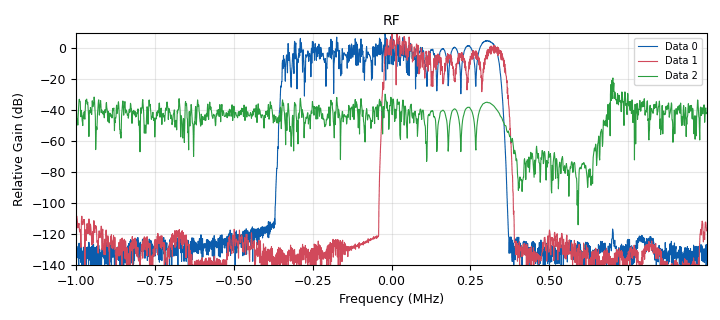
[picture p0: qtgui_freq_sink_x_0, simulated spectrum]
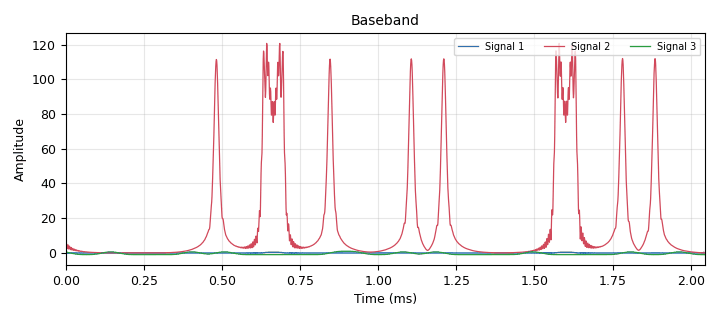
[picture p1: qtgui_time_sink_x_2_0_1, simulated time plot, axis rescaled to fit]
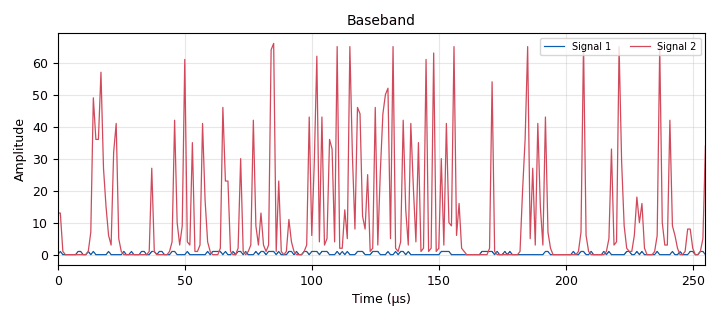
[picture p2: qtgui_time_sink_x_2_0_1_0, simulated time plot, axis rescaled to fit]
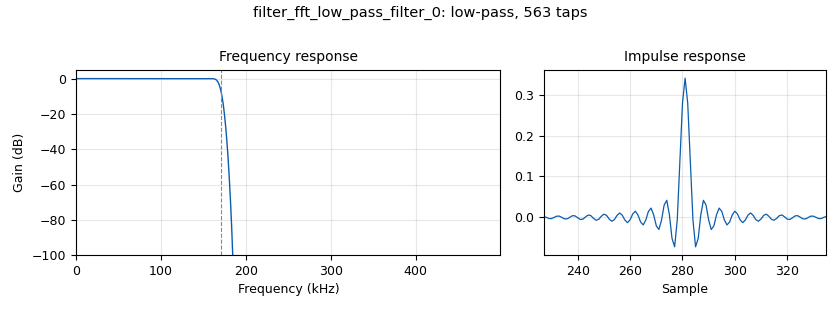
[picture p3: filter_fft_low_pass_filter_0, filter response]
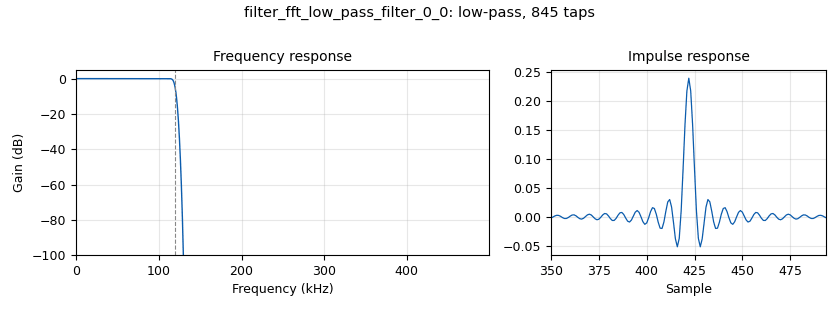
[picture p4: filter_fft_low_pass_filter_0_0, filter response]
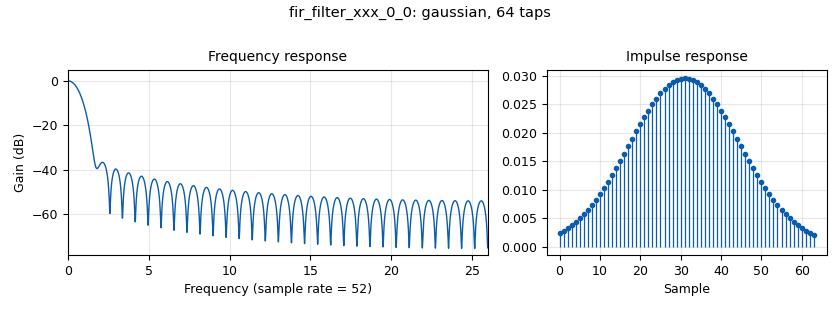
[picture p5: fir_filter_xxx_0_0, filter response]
options:
  parameters:
    author: dfdtc
    generate_options: qt_gui
    id: test_SSB_FM
    output_language: python
    title: test_SSB_FM
  states: {}

blocks:
- name: D
  id: variable
  parameters:
    value: bw/2
  states: {}
- name: bfsk
  id: variable_constellation
  parameters:
    const_points: '[-1,1]'
    precision: '8'
    rot_sym: '1'
    sym_map: '[0, 1]'
    type: bpsk
  states: {}
- name: bw
  id: variable
  parameters:
    value: 0.82e6
  states: {}
- name: inter_header
  id: variable_header_format_default
  parameters:
    access_code: '"0001011011101000110100110111011100010101000111000111000100101101"'
    bps: '1'
    threshold: '0'
  states: {}
- name: lpf
  id: variable_low_pass_filter_taps
  parameters:
    beta: '80'
    cutoff_freq: 150e3
    gain: '1.0'
    samp_rate: samp_rate
    width: 5e3
    win: window.WIN_KAISER
  states: {}
- name: ook
  id: variable_constellation
  parameters:
    const_points: '[0,1]'
    dims: '1'
    normalization: digital.constellation.POWER_NORMALIZATION
    precision: '4'
    rot_sym: '1'
    sym_map: '[0, 1]'
    type: calcdist
  states: {}
- name: samp_rate
  id: variable
  parameters:
    value: 1e6
  states: {}
- name: sps
  id: variable
  parameters:
    value: '52'
  states: {}
- name: symb_rate
  id: variable
  parameters:
    value: samp_rate/sps
  states: {}
- name: analog_quadrature_demod_cf_0_0
  id: analog_quadrature_demod_cf
  parameters:
    gain: samp_rate/(2*math.pi*D)
  states: {}
- name: analog_quadrature_demod_cf_0_0_0
  id: analog_quadrature_demod_cf
  parameters:
    gain: samp_rate/(2*math.pi*D)
  states: {}
- name: blocks_add_xx_0
  id: blocks_add_xx
  parameters:
    type: complex
  states: {}
- name: blocks_char_to_float_0
  id: blocks_char_to_float
  parameters:
    scale: '1'
  states: {}
- name: blocks_char_to_float_1
  id: blocks_char_to_float
  parameters:
    scale: '1'
  states: {}
- name: blocks_complex_to_mag_0
  id: blocks_complex_to_mag
  parameters: {}
  states: {}
- name: blocks_delay_0_0
  id: blocks_delay
  parameters:
    delay: '15'
    type: float
  states: {}
- name: blocks_float_to_uchar_0_0
  id: blocks_float_to_uchar
  parameters:
    bias: '0'
    scale: '1'
    vlen: '1'
  states: {}
- name: blocks_freqshift_cc_0
  id: blocks_freqshift_cc
  parameters:
    freq: '-100e3'
    sample_rate: samp_rate
  states: {}
- name: blocks_freqshift_cc_0_0
  id: blocks_freqshift_cc
  parameters:
    freq: 100e3
    sample_rate: samp_rate
  states: {}
- name: blocks_freqshift_cc_0_0_0
  id: blocks_freqshift_cc
  parameters:
    freq: 110e3
    sample_rate: samp_rate
  states: {}
- name: blocks_freqshift_cc_1
  id: blocks_freqshift_cc
  parameters:
    freq: '-240e3'
    sample_rate: samp_rate
  states: {}
- name: blocks_multiply_const_vxx_0
  id: blocks_multiply_const_vxx
  parameters:
    const: '100'
    type: complex
  states: {}
- name: blocks_multiply_const_vxx_1
  id: blocks_multiply_const_vxx
  parameters:
    const: '0.02'
    type: complex
  states: {}
- name: blocks_multiply_const_vxx_2
  id: blocks_multiply_const_vxx
  parameters:
    const: '0.7'
    type: float
  states: {}
- name: blocks_stream_to_tagged_stream_0_0
  id: blocks_stream_to_tagged_stream
  parameters:
    len_tag_key: '"packet_len"'
    packet_len: '15'
    type: byte
  states: {}
- name: blocks_stream_to_tagged_stream_0_0_0
  id: blocks_stream_to_tagged_stream
  parameters:
    len_tag_key: '"packet_len"'
    packet_len: '15'
    type: byte
  states: {}
- name: blocks_tagged_stream_mux_0
  id: blocks_tagged_stream_mux
  parameters:
    lengthtagname: packet_len
    ninputs: '2'
    type: byte
  states: {}
- name: blocks_tagged_stream_mux_0_0
  id: blocks_tagged_stream_mux
  parameters:
    lengthtagname: packet_len
    ninputs: '2'
    type: byte
  states: {}
- name: blocks_vector_source_x_0_0
  id: blocks_vector_source_x
  parameters:
    repeat: 'True'
    type: byte
    vector: (165, 0, 6, 0, 153, 10, 6, 80, 65, 35, 54, 48, 128, 189, 45)
  states: {}
- name: blocks_vector_source_x_0_0_0
  id: blocks_vector_source_x
  parameters:
    repeat: 'True'
    type: byte
    vector: (165, 0, 6, 0, 153, 10, 6, 80, 65, 35, 54, 48, 128, 189, 45)
  states: {}
- name: digital_gfsk_demod_0_0_0
  id: digital_gfsk_demod
  parameters:
    freq_error: '0.0'
    gain_mu: '0.17'
    mu: '0.5'
    omega_relative_limit: '0.005'
    samples_per_symbol: sps
    sensitivity: samp_rate/(2*math.pi*D)
  states: {}
- name: digital_gfsk_mod_0
  id: digital_gfsk_mod
  parameters:
    bt: '0.35'
    samples_per_symbol: sps
    sensitivity: ((2*math.pi)*D)/samp_rate
  states: {}
- name: digital_gfsk_mod_0_0
  id: digital_gfsk_mod
  parameters:
    bt: '0.35'
    samples_per_symbol: sps
    sensitivity: ((2*math.pi)*D)/samp_rate
  states: {}
- name: digital_protocol_formatter_bb_0
  id: digital_protocol_formatter_bb
  parameters:
    format: inter_header
    len_tag_key: '"packet_len"'
  states: {}
- name: digital_protocol_formatter_bb_0_0
  id: digital_protocol_formatter_bb
  parameters:
    format: inter_header
    len_tag_key: '"packet_len"'
  states: {}
- name: digital_symbol_sync_xx_0
  id: digital_symbol_sync_xx
  parameters:
    constellation: ook
    damping: '1.0'
    loop_bw: '0.03'
    max_dev: '1.5'
    nfilters: '128'
    osps: '1'
    resamp_type: digital.IR_PFB_NO_MF
    sps: sps
    ted_gain: '0.85'
    ted_type: digital.TED_EARLY_LATE
    type: ff
  states: {}
- name: filter_fft_low_pass_filter_0
  id: filter_fft_low_pass_filter
  parameters:
    beta: '40'
    cutoff_freq: 170e3
    decim: '1'
    gain: '1'
    samp_rate: samp_rate
    type: ccc
    width: 30e3
    win: window.WIN_KAISER
  states: {}
- name: filter_fft_low_pass_filter_0_0
  id: filter_fft_low_pass_filter
  parameters:
    beta: '40'
    cutoff_freq: 120e3
    decim: '1'
    gain: '1'
    samp_rate: samp_rate
    type: ccc
    width: 20e3
    win: window.WIN_KAISER
  states: {}
- name: fir_filter_xxx_0_0
  id: fir_filter_xxx
  parameters:
    decim: '1'
    taps: firdes.gaussian(1, sps, 0.5, 64)
    type: fff
  states: {}
- name: import_0_0
  id: import
  parameters:
    imports: import math
  states: {}
- name: qtgui_freq_sink_x_0
  id: qtgui_freq_sink_x
  parameters:
    bw: samp_rate*2
    fc: '0'
    fftsize: '2048'
    name: '"RF"'
    nconnections: '3'
    type: complex
  states: {}
- name: qtgui_time_sink_x_2_0_1
  id: qtgui_time_sink_x
  parameters:
    grid: 'True'
    name: '"Baseband"'
    nconnections: '3'
    size: '2048'
    srate: samp_rate
    tr_mode: qtgui.TRIG_MODE_AUTO
    type: float
    update_time: '2'
    ymax: '2'
    ymin: '-2'
  states: {}
- name: qtgui_time_sink_x_2_0_1_0
  id: qtgui_time_sink_x
  parameters:
    grid: 'True'
    name: '"Baseband"'
    nconnections: '2'
    size: '256'
    srate: samp_rate
    tr_mode: qtgui.TRIG_MODE_NORM
    type: float
    update_time: '5'
    ymax: '2'
    ymin: '-2'
  states: {}
- name: qtgui_time_sink_x_2_0_1_0_0
  id: qtgui_time_sink_x
  parameters:
    grid: 'True'
    name: '"Baseband"'
    nconnections: '2'
    size: '256'
    srate: samp_rate
    tr_mode: qtgui.TRIG_MODE_NORM
    type: float
    update_time: '5'
    ymax: '2'
    ymin: '-2'
  states: {state: disabled}
- name: qtgui_time_sink_x_2_0_1_0_0_0
  id: qtgui_time_sink_x
  parameters:
    grid: 'True'
    name: '"Baseband1111"'
    nconnections: '2'
    size: '256'
    srate: samp_rate
    tr_mode: qtgui.TRIG_MODE_NORM
    type: float
    update_time: '5'
    ymax: '2'
    ymin: '-2'
  states: {}
- name: qtgui_time_sink_x_2_0_1_0_1
  id: qtgui_time_sink_x
  parameters:
    grid: 'True'
    name: '"Baseband"'
    nconnections: '3'
    size: '256'
    srate: samp_rate
    tr_mode: qtgui.TRIG_MODE_NORM
    type: float
    update_time: '5'
    ymax: '2'
    ymin: '-2'
  states: {state: disabled}
- name: virtual_sink_0
  id: virtual_sink
  parameters:
    stream_id: rf
  states: {}
- name: virtual_source_0
  id: virtual_source
  parameters:
    stream_id: rf
  states: {}

connections:
- [analog_quadrature_demod_cf_0_0, '0', qtgui_time_sink_x_2_0_1, '0']
- [analog_quadrature_demod_cf_0_0_0, '0', qtgui_time_sink_x_2_0_1, '2']
- [blocks_add_xx_0, '0', virtual_sink_0, '0']
- [blocks_char_to_float_0, '0', blocks_delay_0_0, '0']
- [blocks_char_to_float_1, '0', qtgui_time_sink_x_2_0_1_0, '1']
- [blocks_complex_to_mag_0, '0', fir_filter_xxx_0_0, '0']
- [blocks_complex_to_mag_0, '0', qtgui_time_sink_x_2_0_1, '1']
- [blocks_delay_0_0, '0', qtgui_time_sink_x_2_0_1_0, '0']
- [blocks_float_to_uchar_0_0, '0', blocks_char_to_float_1, '0']
- [blocks_freqshift_cc_0, '0', blocks_freqshift_cc_0_0, '0']
- [blocks_freqshift_cc_0, '0', filter_fft_low_pass_filter_0_0, '0']
- [blocks_freqshift_cc_0_0, '0', qtgui_freq_sink_x_0, '0']
- [blocks_freqshift_cc_0_0_0, '0', analog_quadrature_demod_cf_0_0, '0']
- [blocks_freqshift_cc_0_0_0, '0', blocks_complex_to_mag_0, '0']
- [blocks_freqshift_cc_0_0_0, '0', qtgui_freq_sink_x_0, '1']
- [blocks_freqshift_cc_1, '0', blocks_add_xx_0, '1']
- [blocks_multiply_const_vxx_0, '0', blocks_freqshift_cc_0, '0']
- [blocks_multiply_const_vxx_1, '0', blocks_add_xx_0, '0']
- [blocks_multiply_const_vxx_2, '0', digital_symbol_sync_xx_0, '0']
- [blocks_stream_to_tagged_stream_0_0, '0', blocks_tagged_stream_mux_0, '1']
- [blocks_stream_to_tagged_stream_0_0, '0', digital_protocol_formatter_bb_0, '0']
- [blocks_stream_to_tagged_stream_0_0_0, '0', blocks_tagged_stream_mux_0_0, '1']
- [blocks_stream_to_tagged_stream_0_0_0, '0', digital_protocol_formatter_bb_0_0, '0']
- [blocks_tagged_stream_mux_0, '0', digital_gfsk_mod_0, '0']
- [blocks_tagged_stream_mux_0_0, '0', digital_gfsk_mod_0_0, '0']
- [blocks_vector_source_x_0_0, '0', blocks_stream_to_tagged_stream_0_0, '0']
- [blocks_vector_source_x_0_0_0, '0', blocks_stream_to_tagged_stream_0_0_0, '0']
- [digital_gfsk_demod_0_0_0, '0', blocks_char_to_float_0, '0']
- [digital_gfsk_mod_0, '0', analog_quadrature_demod_cf_0_0_0, '0']
- [digital_gfsk_mod_0, '0', blocks_multiply_const_vxx_1, '0']
- [digital_gfsk_mod_0, '0', digital_gfsk_demod_0_0_0, '0']
- [digital_gfsk_mod_0_0, '0', blocks_freqshift_cc_1, '0']
- [digital_protocol_formatter_bb_0, '0', blocks_tagged_stream_mux_0, '0']
- [digital_protocol_formatter_bb_0_0, '0', blocks_tagged_stream_mux_0_0, '0']
- [digital_symbol_sync_xx_0, '0', blocks_float_to_uchar_0_0, '0']
- [digital_symbol_sync_xx_0, '0', qtgui_time_sink_x_2_0_1_0_0_0, '0']
- [digital_symbol_sync_xx_0, '1', qtgui_time_sink_x_2_0_1_0_0_0, '1']
- [filter_fft_low_pass_filter_0, '0', blocks_multiply_const_vxx_0, '0']
- [filter_fft_low_pass_filter_0_0, '0', blocks_freqshift_cc_0_0_0, '0']
- [fir_filter_xxx_0_0, '0', blocks_multiply_const_vxx_2, '0']
- [virtual_source_0, '0', filter_fft_low_pass_filter_0, '0']
- [virtual_source_0, '0', qtgui_freq_sink_x_0, '2']

metadata:
  file_format: 1
  grc_version: 3.10.12.0
